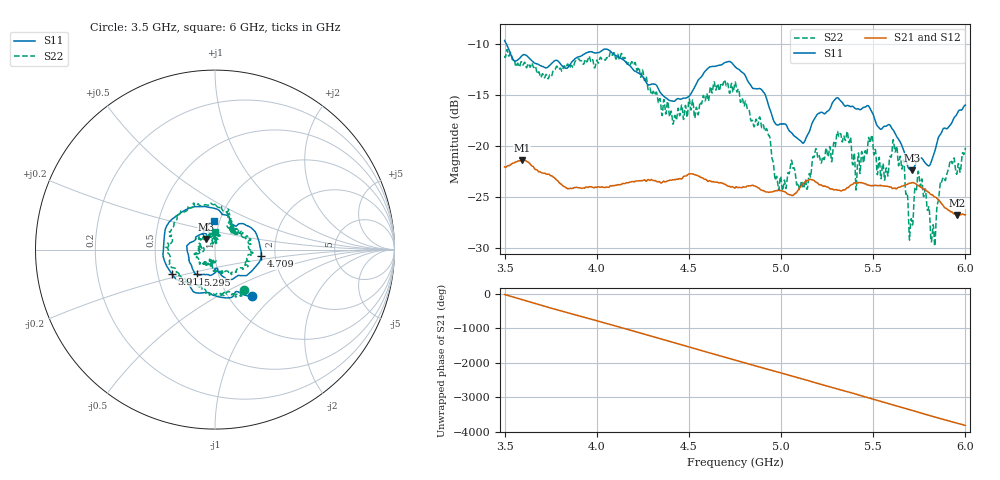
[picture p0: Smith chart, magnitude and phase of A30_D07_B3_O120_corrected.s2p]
! Created with skrf 1.9.0 (http://scikit-rf.org).
# Hz S RI R 50.0
!freq ReS11 ImS11 ReS21 ImS21 ReS12 ImS12 ReS22 ImS22
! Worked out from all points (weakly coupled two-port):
!   1601 points, 3.5 GHz to 6 GHz, reference 50 ohm
!   highest |S21| = -21.33 dB at 3.594 GHz (marker M1); lowest = -26.7 dB at 5.956 GHz (marker M2)
!   lowest |S11| = -22.4 dB at 5.709 GHz (marker M3), VSWR 1.16, Z = 45.1 + j5.36 ohm
!   |S11| at or under -10 dB: 3.511 GHz to end of sweep
!   |S22| runs from -29.8 to -10.5 dB; largest |S21 - S12| = 0.001
!   S11 on the Smith chart (normalised r, x): 3.5 GHz: 1.27, -0.74; 3.911 GHz: 0.59, -0.17; 4.709 GHz: 1.69, -0.12; 5.295 GHz: 0.79, -0.23; 6 GHz: 0.94, +0.31
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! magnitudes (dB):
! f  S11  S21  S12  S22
! 3.5 GHz  -9.6  -22.0  -22.0  -11.1
! 3.594 GHz  -11.1  -21.3  -21.3  -11.8
! 3.911 GHz  -11.2  -24.1  -24.1  -11.6
! 3.917 GHz  -11.1  -24.1  -24.1  -11.6
! 4.142 GHz  -11.5  -23.6  -23.6  -11.3
! 4.334 GHz  -14.4  -23.5  -23.4  -15.7
! 4.422 GHz  -15.6  -23.3  -23.3  -17.0
! 4.709 GHz  -11.7  -23.9  -23.8  -13.8
! 4.75 GHz  -12.2  -24.1  -24.0  -13.7
! 4.928 GHz  -15.7  -24.5  -24.5  -18.7
! 4.98 GHz  -17.9  -24.3  -24.3  -23.3
! 5.167 GHz  -17.8  -23.3  -23.3  -21.8
! 5.295 GHz  -15.4  -24.2  -24.2  -19.9
! 5.4 GHz  -16.3  -23.6  -23.6  -21.3
! 5.584 GHz  -17.9  -24.0  -23.9  -22.0
! 5.656 GHz  -20.0  -23.9  -23.8  -22.2
! 5.709 GHz  -22.4  -23.6  -23.5  -27.3
! 5.753 GHz  -21.2  -23.9  -23.9  -23.6
! 5.825 GHz  -21.0  -24.8  -24.8  -27.7
! 5.872 GHz  -18.6  -25.7  -25.6  -23.4
! 5.956 GHz  -16.8  -26.7  -26.7  -22.4
! 6 GHz  -16.0  -26.7  -26.7  -20.1
